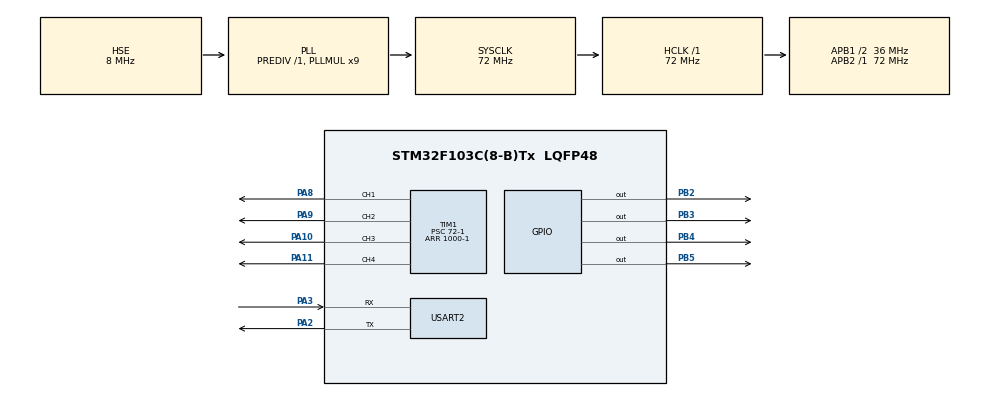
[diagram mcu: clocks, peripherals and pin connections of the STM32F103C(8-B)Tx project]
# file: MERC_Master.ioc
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Dma.Request0=USART2_RX
Dma.USART2_RX.0.Direction=DMA_PERIPH_TO_MEMORY
Dma.USART2_RX.0.Instance=DMA1_Channel6
Dma.USART2_RX.0.MemDataAlignment=DMA_MDATAALIGN_BYTE
Dma.USART2_RX.0.MemInc=DMA_MINC_ENABLE
Dma.USART2_RX.0.Mode=DMA_NORMAL
Dma.USART2_RX.0.PeriphDataAlignment=DMA_PDATAALIGN_BYTE
Dma.USART2_RX.0.PeriphInc=DMA_PINC_DISABLE
Dma.USART2_RX.0.Priority=DMA_PRIORITY_LOW
IWDG.Prescaler=IWDG_PRESCALER_4
IWDG.Reload=149
Mcu.Family=STM32F1
Mcu.Name=STM32F103C(8-B)Tx
Mcu.Package=LQFP48
NVIC.DMA1_Channel6_IRQn=true\:0\:0\:false\:false\:true\:false\:true
NVIC.PriorityGroup=NVIC_PRIORITYGROUP_4
NVIC.TIM2_IRQn=true\:0\:0\:false\:false\:true\:true\:true
NVIC.USART2_IRQn=true\:0\:0\:false\:false\:true\:true\:true
PA10.Signal=S_TIM1_CH3
PA11.Signal=S_TIM1_CH4
PA13.Mode=Serial_Wire
PA13.Signal=SYS_JTMS-SWDIO
PA14.Mode=Serial_Wire
PA14.Signal=SYS_JTCK-SWCLK
PA2.Mode=Asynchronous
PA2.Signal=USART2_TX
PA3.Mode=Asynchronous
PA3.Signal=USART2_RX
PA8.Signal=S_TIM1_CH1
PA9.Signal=S_TIM1_CH2
PB2.Signal=GPIO_Output
PB3.Signal=GPIO_Output
PB4.Signal=GPIO_Output
PB5.Signal=GPIO_Output
PD0-OSC_IN.Mode=HSE-External-Oscillator
PD0-OSC_IN.Signal=RCC_OSC_IN
PD1-OSC_OUT.Mode=HSE-External-Oscillator
PD1-OSC_OUT.Signal=RCC_OSC_OUT
ProjectManager.HeapSize=0x200
ProjectManager.StackSize=0x400
ProjectManager.TargetToolchain=STM32CubeIDE
RCC.AHBFreq_Value=72000000
RCC.APB1CLKDivider=RCC_HCLK_DIV2
RCC.APB1Freq_Value=36000000
RCC.APB1TimFreq_Value=72000000
RCC.APB2Freq_Value=72000000
RCC.APB2TimFreq_Value=72000000
RCC.HCLKFreq_Value=72000000
RCC.PLLMUL=RCC_PLL_MUL9
RCC.PLLSourceVirtual=RCC_PLLSOURCE_HSE
RCC.SYSCLKFreq_VALUE=72000000
RCC.SYSCLKSource=RCC_SYSCLKSOURCE_PLLCLK
RCC.USBFreq_Value=72000000
SH.S_TIM1_CH1.0=TIM1_CH1,PWM Generation1 CH1
SH.S_TIM1_CH2.0=TIM1_CH2,PWM Generation2 CH2
SH.S_TIM1_CH3.0=TIM1_CH3,PWM Generation3 CH3
SH.S_TIM1_CH4.0=TIM1_CH4,PWM Generation4 CH4
TIM1.Channel-PWM\ Generation1\ CH1=TIM_CHANNEL_1
TIM1.Channel-PWM\ Generation2\ CH2=TIM_CHANNEL_2
TIM1.Channel-PWM\ Generation3\ CH3=TIM_CHANNEL_3
TIM1.Channel-PWM\ Generation4\ CH4=TIM_CHANNEL_4
TIM1.Period=1000-1
TIM1.Prescaler=72-1
TIM2.Period=10000-1
TIM2.Prescaler=72-1
USART2.VirtualMode=VM_ASYNC
VP_IWDG_VS_IWDG.Mode=IWDG_Activate
VP_TIM2_VS_ClockSourceINT.Mode=Internal
board=custom

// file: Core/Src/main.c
/* USER CODE BEGIN Header */
/**
  ******************************************************************************
  * @file           : main.c
  * @brief          : Main program body
  ******************************************************************************
  * @attention
  *
  * <h2><center>&copy; Copyright (c) 2024 STMicroelectronics.
  * All rights reserved.</center></h2>
  *
  * This software component is licensed by ST under BSD 3-Clause license,
  * the "License"; You may not use this file except in compliance with the
  * License. You may obtain a copy of the License at:
  *                        opensource.org/licenses/BSD-3-Clause
  *
  ******************************************************************************
  */
/* USER CODE END Header */
#include "main.h"

/* USER CODE BEGIN Includes */
#include "control.h"
/* USER CODE END Includes */

IWDG_HandleTypeDef hiwdg;

TIM_HandleTypeDef htim1;
TIM_HandleTypeDef htim2;

UART_HandleTypeDef huart2;
DMA_HandleTypeDef hdma_usart2_rx;

/* USER CODE BEGIN PV */

uint8_t rxSpeedBuffer[RX_SPEED_SIZE];

speedStruct speedMotor;

motorStruct Motor_1;
motorStruct Motor_2;
motorStruct Motor_3;
motorStruct Motor_4;

/* USER CODE END PV */

void SystemClock_Config(void);
static void MX_GPIO_Init(void);
static void MX_DMA_Init(void);
static void MX_IWDG_Init(void);
static void MX_TIM1_Init(void);
static void MX_TIM2_Init(void);
static void MX_USART2_UART_Init(void);

/* USER CODE BEGIN 0 */

void HAL_UARTEx_RxEventCallback(UART_HandleTypeDef *huart, uint16_t Size)
{
	uint8_t *rxBff = &speedMotor;
    HAL_UARTEx_ReceiveToIdle_DMA(&huart2, rxSpeedBuffer, RX_SPEED_SIZE);
    __HAL_DMA_DISABLE_IT(&hdma_usart2_rx, DMA_IT_HT);
    if(rxSpeedBuffer[0]==0x55 && rxSpeedBuffer[9]==0xAA){
    	 for(int i = 1; i <= 8; i++){
    		 *rxBff = rxSpeedBuffer[i];
    		 rxBff++;
    	 }
    	 HAL_IWDG_Refresh(&hiwdg);
    	 ctrlMotor(&Motor_1);
    	 ctrlMotor(&Motor_2);
    	 ctrlMotor(&Motor_3);
    	 ctrlMotor(&Motor_4);
    	 HAL_IWDG_Refresh(&hiwdg);
    	 ctrlDir();
     	 HAL_GPIO_TogglePin(GPIOB, GPIO_PIN_2);
    }
}

 void HAL_TIM_PeriodElapsedCallback(TIM_HandleTypeDef *htim){
	 if(htim->Instance == htim2.Instance){
	 }
 }

void initCtrlMotor(void){
	Motor_1.htim = &htim1;
	Motor_1.Channel = TIM_CHANNEL_1;
	Motor_1.Speed = &(speedMotor.speed_1);
	Motor_1.error = *(Motor_1.Speed) - Motor_1.setPointSpeed;
	Motor_1.preError = 0;
	Motor_1.preSetPoint = 0;

	Motor_2.htim = &htim1;
	Motor_2.Channel = TIM_CHANNEL_2;
	Motor_2.Speed = &(speedMotor.speed_2);
	Motor_2.error = *(Motor_2.Speed) - Motor_2.setPointSpeed;
	Motor_2.preError = 0;
	Motor_2.preSetPoint = 0;

	Motor_3.htim = &htim1;
	Motor_3.Channel = TIM_CHANNEL_3;
	Motor_3.Speed = &(speedMotor.speed_3);
	Motor_3.error = *(Motor_3.Speed) - Motor_3.setPointSpeed;
	Motor_3.preError = 0;
	Motor_3.preSetPoint = 0;

	Motor_4.htim = &htim1;
	Motor_4.Channel = TIM_CHANNEL_4;
	Motor_4.Speed = &(speedMotor.speed_4);
	Motor_4.error = *(Motor_4.Speed) - Motor_4.setPointSpeed;
	Motor_4.preError = 0;
	Motor_4.preSetPoint = 0;
}

/* USER CODE END 0 */

int main(void)
{

  /* MCU Configuration--------------------------------------------------------*/

  /* Reset of all peripherals, Initializes the Flash interface and the Systick. */
  HAL_Init();

  /* Configure the system clock */
  SystemClock_Config();

  /* Initialize all configured peripherals */
  MX_GPIO_Init();
  MX_DMA_Init();
  MX_IWDG_Init();
  MX_TIM1_Init();
  MX_TIM2_Init();
  MX_USART2_UART_Init();
  /* USER CODE BEGIN 2 */
  HAL_TIM_PWM_Start(&htim1, TIM_CHANNEL_1);
  HAL_TIM_PWM_Start(&htim1, TIM_CHANNEL_2);
  HAL_TIM_PWM_Start(&htim1, TIM_CHANNEL_3);
  HAL_TIM_PWM_Start(&htim1, TIM_CHANNEL_4);

  HAL_TIM_Base_Start_IT(&htim2);

  HAL_UARTEx_ReceiveToIdle_DMA(&huart2, rxSpeedBuffer, RX_SPEED_SIZE);
  __HAL_DMA_DISABLE_IT(&hdma_usart2_rx, DMA_IT_HT);

  initCtrlMotor();
  /* USER CODE END 2 */

  /* Infinite loop */
  while (1)
  {

    /* USER CODE BEGIN 3 */

	  Motor_1.setPointSpeed = -40;
	  Motor_2.setPointSpeed = 30;
	  HAL_Delay(3000);
	  Motor_1.setPointSpeed = 0;
	  Motor_2.setPointSpeed = 0;
	  HAL_Delay(4000);
	  Motor_1.setPointSpeed = 40;
	  Motor_2.setPointSpeed = -20;
	  HAL_Delay(3000);
	  Motor_1.setPointSpeed = 0;
	  Motor_2.setPointSpeed = 0;
  }
  /* USER CODE END 3 */
}

void SystemClock_Config(void)
{
  RCC_OscInitTypeDef RCC_OscInitStruct = {0};
  RCC_ClkInitTypeDef RCC_ClkInitStruct = {0};

  /** Initializes the RCC Oscillators according to the specified parameters
  * in the RCC_OscInitTypeDef structure.
  */
  RCC_OscInitStruct.OscillatorType = RCC_OSCILLATORTYPE_LSI|RCC_OSCILLATORTYPE_HSE;
  RCC_OscInitStruct.HSEState = RCC_HSE_ON;
  RCC_OscInitStruct.HSEPredivValue = RCC_HSE_PREDIV_DIV1;
  RCC_OscInitStruct.HSIState = RCC_HSI_ON;
  RCC_OscInitStruct.LSIState = RCC_LSI_ON;
  RCC_OscInitStruct.PLL.PLLState = RCC_PLL_ON;
  RCC_OscInitStruct.PLL.PLLSource = RCC_PLLSOURCE_HSE;
  RCC_OscInitStruct.PLL.PLLMUL = RCC_PLL_MUL9;
  if (HAL_RCC_OscConfig(&RCC_OscInitStruct) != HAL_OK)
  {
    Error_Handler();
  }
  /** Initializes the CPU, AHB and APB buses clocks
  */
  RCC_ClkInitStruct.ClockType = RCC_CLOCKTYPE_HCLK|RCC_CLOCKTYPE_SYSCLK
                              |RCC_CLOCKTYPE_PCLK1|RCC_CLOCKTYPE_PCLK2;
  RCC_ClkInitStruct.SYSCLKSource = RCC_SYSCLKSOURCE_PLLCLK;
  RCC_ClkInitStruct.AHBCLKDivider = RCC_SYSCLK_DIV1;
  RCC_ClkInitStruct.APB1CLKDivider = RCC_HCLK_DIV2;
  RCC_ClkInitStruct.APB2CLKDivider = RCC_HCLK_DIV1;

  if (HAL_RCC_ClockConfig(&RCC_ClkInitStruct, FLASH_LATENCY_2) != HAL_OK)
  {
    Error_Handler();
  }
}

static void MX_IWDG_Init(void)
{

  hiwdg.Instance = IWDG;
  hiwdg.Init.Prescaler = IWDG_PRESCALER_4;
  hiwdg.Init.Reload = 149;
  if (HAL_IWDG_Init(&hiwdg) != HAL_OK)
  {
    Error_Handler();
  }

}

static void MX_TIM1_Init(void)
{

  TIM_MasterConfigTypeDef sMasterConfig = {0};
  TIM_OC_InitTypeDef sConfigOC = {0};
  TIM_BreakDeadTimeConfigTypeDef sBreakDeadTimeConfig = {0};

  htim1.Instance = TIM1;
  htim1.Init.Prescaler = 72-1;
  htim1.Init.CounterMode = TIM_COUNTERMODE_UP;
  htim1.Init.Period = 1000-1;
  htim1.Init.ClockDivision = TIM_CLOCKDIVISION_DIV1;
  htim1.Init.RepetitionCounter = 0;
  htim1.Init.AutoReloadPreload = TIM_AUTORELOAD_PRELOAD_DISABLE;
  if (HAL_TIM_PWM_Init(&htim1) != HAL_OK)
  {
    Error_Handler();
  }
  sMasterConfig.MasterOutputTrigger = TIM_TRGO_RESET;
  sMasterConfig.MasterSlaveMode = TIM_MASTERSLAVEMODE_DISABLE;
  if (HAL_TIMEx_MasterConfigSynchronization(&htim1, &sMasterConfig) != HAL_OK)
  {
    Error_Handler();
  }
  sConfigOC.OCMode = TIM_OCMODE_PWM1;
  sConfigOC.Pulse = 0;
  sConfigOC.OCPolarity = TIM_OCPOLARITY_HIGH;
  sConfigOC.OCNPolarity = TIM_OCNPOLARITY_HIGH;
  sConfigOC.OCFastMode = TIM_OCFAST_DISABLE;
  sConfigOC.OCIdleState = TIM_OCIDLESTATE_RESET;
  sConfigOC.OCNIdleState = TIM_OCNIDLESTATE_RESET;
  if (HAL_TIM_PWM_ConfigChannel(&htim1, &sConfigOC, TIM_CHANNEL_1) != HAL_OK)
  {
    Error_Handler();
  }
  if (HAL_TIM_PWM_ConfigChannel(&htim1, &sConfigOC, TIM_CHANNEL_2) != HAL_OK)
  {
    Error_Handler();
  }
  if (HAL_TIM_PWM_ConfigChannel(&htim1, &sConfigOC, TIM_CHANNEL_3) != HAL_OK)
  {
    Error_Handler();
  }
  if (HAL_TIM_PWM_ConfigChannel(&htim1, &sConfigOC, TIM_CHANNEL_4) != HAL_OK)
  {
    Error_Handler();
  }
  sBreakDeadTimeConfig.OffStateRunMode = TIM_OSSR_DISABLE;
  sBreakDeadTimeConfig.OffStateIDLEMode = TIM_OSSI_DISABLE;
  sBreakDeadTimeConfig.LockLevel = TIM_LOCKLEVEL_OFF;
  sBreakDeadTimeConfig.DeadTime = 0;
  sBreakDeadTimeConfig.BreakState = TIM_BREAK_DISABLE;
  sBreakDeadTimeConfig.BreakPolarity = TIM_BREAKPOLARITY_HIGH;
  sBreakDeadTimeConfig.AutomaticOutput = TIM_AUTOMATICOUTPUT_DISABLE;
  if (HAL_TIMEx_ConfigBreakDeadTime(&htim1, &sBreakDeadTimeConfig) != HAL_OK)
  {
    Error_Handler();
  }
  HAL_TIM_MspPostInit(&htim1);

}

static void MX_TIM2_Init(void)
{

  TIM_ClockConfigTypeDef sClockSourceConfig = {0};
  TIM_MasterConfigTypeDef sMasterConfig = {0};

  htim2.Instance = TIM2;
  htim2.Init.Prescaler = 72-1;
  htim2.Init.CounterMode = TIM_COUNTERMODE_UP;
  htim2.Init.Period = 10000-1;
  htim2.Init.ClockDivision = TIM_CLOCKDIVISION_DIV1;
  htim2.Init.AutoReloadPreload = TIM_AUTORELOAD_PRELOAD_DISABLE;
  if (HAL_TIM_Base_Init(&htim2) != HAL_OK)
  {
    Error_Handler();
  }
  sClockSourceConfig.ClockSource = TIM_CLOCKSOURCE_INTERNAL;
  if (HAL_TIM_ConfigClockSource(&htim2, &sClockSourceConfig) != HAL_OK)
  {
    Error_Handler();
  }
  sMasterConfig.MasterOutputTrigger = TIM_TRGO_RESET;
  sMasterConfig.MasterSlaveMode = TIM_MASTERSLAVEMODE_DISABLE;
  if (HAL_TIMEx_MasterConfigSynchronization(&htim2, &sMasterConfig) != HAL_OK)
  {
    Error_Handler();
  }

}

static void MX_USART2_UART_Init(void)
{

  huart2.Instance = USART2;
  huart2.Init.BaudRate = 115200;
  huart2.Init.WordLength = UART_WORDLENGTH_8B;
  huart2.Init.StopBits = UART_STOPBITS_1;
  huart2.Init.Parity = UART_PARITY_NONE;
  huart2.Init.Mode = UART_MODE_TX_RX;
  huart2.Init.HwFlowCtl = UART_HWCONTROL_NONE;
  huart2.Init.OverSampling = UART_OVERSAMPLING_16;
  if (HAL_UART_Init(&huart2) != HAL_OK)
  {
    Error_Handler();
  }

}

static void MX_DMA_Init(void)
{

  /* DMA controller clock enable */
  __HAL_RCC_DMA1_CLK_ENABLE();

  /* DMA interrupt init */
  /* DMA1_Channel6_IRQn interrupt configuration */
  HAL_NVIC_SetPriority(DMA1_Channel6_IRQn, 0, 0);
  HAL_NVIC_EnableIRQ(DMA1_Channel6_IRQn);

}

static void MX_GPIO_Init(void)
{
  GPIO_InitTypeDef GPIO_InitStruct = {0};

  /* GPIO Ports Clock Enable */
  __HAL_RCC_GPIOD_CLK_ENABLE();
  __HAL_RCC_GPIOA_CLK_ENABLE();
  __HAL_RCC_GPIOB_CLK_ENABLE();

  /*Configure GPIO pin Output Level */
  HAL_GPIO_WritePin(GPIOB, GPIO_PIN_2|GPIO_PIN_3|GPIO_PIN_4|GPIO_PIN_5, GPIO_PIN_RESET);

  /*Configure GPIO pins : PB2 PB3 PB4 PB5 */
  GPIO_InitStruct.Pin = GPIO_PIN_2|GPIO_PIN_3|GPIO_PIN_4|GPIO_PIN_5;
  GPIO_InitStruct.Mode = GPIO_MODE_OUTPUT_PP;
  GPIO_InitStruct.Pull = GPIO_NOPULL;
  GPIO_InitStruct.Speed = GPIO_SPEED_FREQ_LOW;
  HAL_GPIO_Init(GPIOB, &GPIO_InitStruct);

}

void Error_Handler(void)
{
  __disable_irq();
  while (1)
  {
  }
}

/************************ (C) COPYRIGHT STMicroelectronics *****END OF FILE****/
